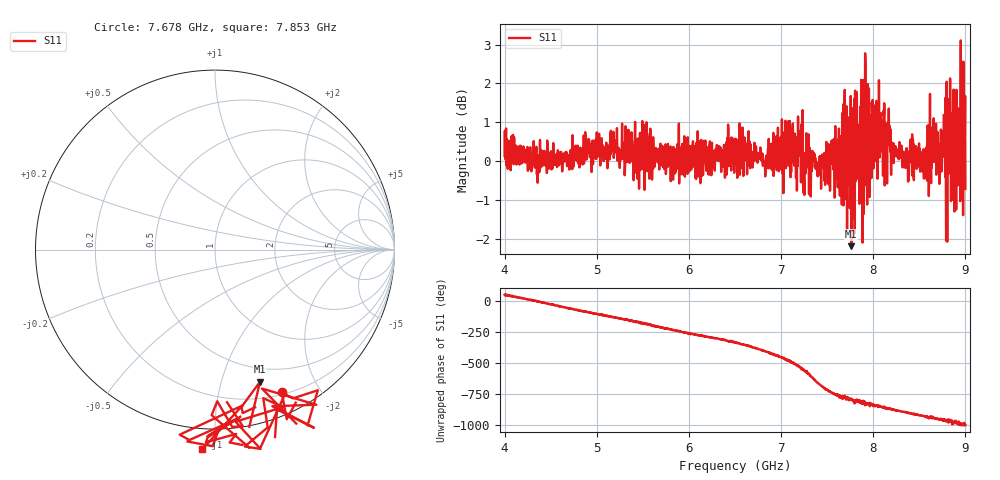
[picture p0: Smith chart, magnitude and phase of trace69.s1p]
! Created with skrf 1.8.0 (http://scikit-rf.org).
# Hz S RI R 50.0
!freq ReS11 ImS11
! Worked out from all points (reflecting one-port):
!   1601 points, 4 GHz to 9 GHz, reference 50 ohm
!   lowest |S11| = -2.2 dB at 7.762 GHz (marker M1), VSWR 8.01, Z = 17.9 - j66.7 ohm
!   phase of S11 starts at 50 deg and turns -1053 deg over the sweep
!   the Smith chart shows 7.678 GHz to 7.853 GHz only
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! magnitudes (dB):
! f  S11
! 4 GHz  0.1
! 4.625 GHz  -0.3
! 5.25 GHz  -0.2
! 5.875 GHz  0.4
! 6.5 GHz  0.3
! 6.825 GHz  -0.1
! 7.125 GHz  0.9
! 7.209 GHz  0.8
! 7.262 GHz  0.2
! 7.409 GHz  -0.3
! 7.634 GHz  -0.1
! 7.688 GHz  1.5
! 7.75 GHz  -0.6
! 7.762 GHz  -2.2
! 7.788 GHz  -0.1
! 7.822 GHz  1.8
! 7.872 GHz  1.1
! 7.891 GHz  -0.5
! 7.909 GHz  0.4
! 7.928 GHz  -0.6
! 7.944 GHz  1.6
! 8.097 GHz  0.7
! 8.375 GHz  0.0
! 8.562 GHz  -0.4
! 8.834 GHz  2.1
! 8.875 GHz  0.9
! 8.972 GHz  1.4
! 9 GHz  -0.7
